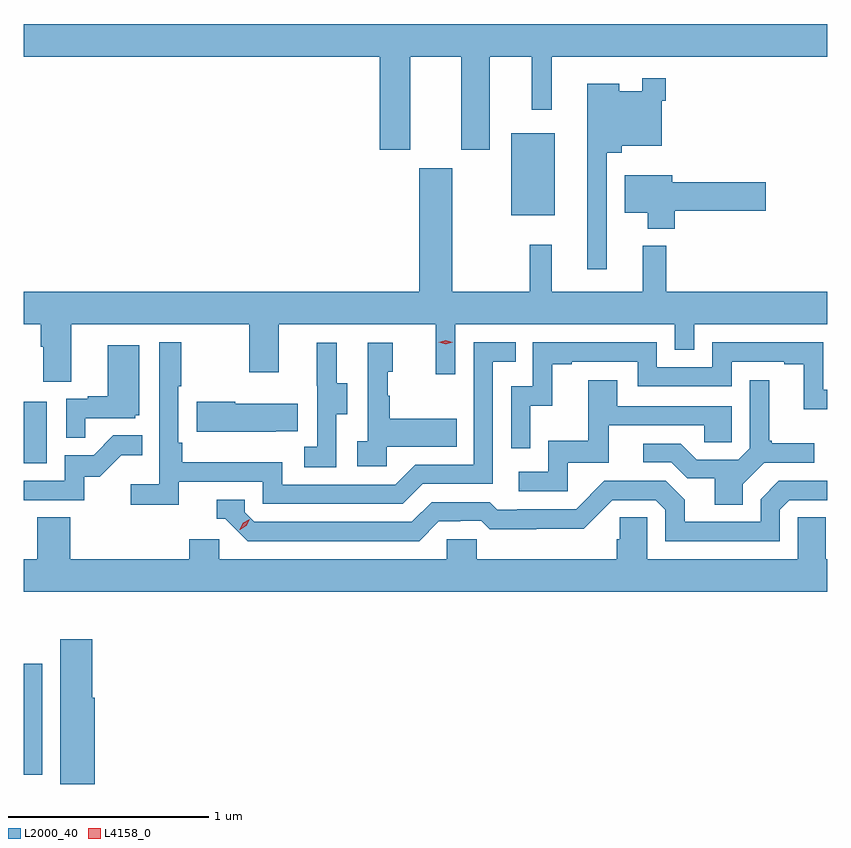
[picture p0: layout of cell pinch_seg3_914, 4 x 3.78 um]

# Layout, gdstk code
import gdstk
lib = gdstk.Library(unit=1e-6, precision=1e-09)
def R(c, l, rs):  # rectangles x0, y0, x1, y1
    for r in rs: c.add(gdstk.rectangle(r[:2], r[2:], *l))
def P(c, l, *ps):  # polygons
    for p in ps: c.add(gdstk.Polygon(p, *l))
L2000_40 = (2000, 40)
L4158_0 = (4158, 0)

pinch_seg3_914 = lib.new_cell('pinch_seg3_914')
R(pinch_seg3_914, L2000_40, [(886.426,673.366,886.518,673.918), (886.426,674.916,886.54,675.223), (888.854,676.151,889.069,676.561)])
P(pinch_seg3_914, L2000_40, [(888.349,676.94),(888.605,676.94),(888.605,676.479),(888.745,676.479),(888.745,676.94),(888.956,676.94),(888.956,676.677),(889.054,676.677),(889.054,676.94),(890.426,676.94),(890.426,677.104),(886.426,677.104),(886.426,676.94),(888.197,676.94),(888.197,676.479),(888.349,676.479)],
  [(889.329,676.463),(889.403,676.463),(889.403,676.499),(889.602,676.499),(889.602,676.721),(889.622,676.721),(889.622,676.834),(889.506,676.834),(889.506,676.768),(889.39,676.768),(889.39,676.807),(889.232,676.807),(889.232,675.882),(889.329,675.882)],
  [(886.663,675.608),(887.548,675.608),(887.548,675.369),(887.695,675.369),(887.695,675.608),(888.476,675.608),(888.476,675.36),(888.573,675.36),(888.573,675.608),(889.668,675.608),(889.668,675.481),(889.764,675.481),(889.764,675.608),(890.426,675.608),(890.426,675.772),(889.625,675.772),(889.625,676),(889.508,676),(889.508,675.772),(889.055,675.772),(889.055,676.006),(888.945,676.006),(888.945,675.772),(888.559,675.772),(888.559,676.387),(888.395,676.387),(888.395,675.772),(886.426,675.772),(886.426,675.608),(886.511,675.608),(886.511,675.496),(886.523,675.496),(886.523,675.322),(886.663,675.322)],
  [(889.667,676.174),(890.119,676.174),(890.119,676.316),(889.654,676.316),(889.654,676.351),(889.418,676.351),(889.418,676.163),(889.532,676.163),(889.532,676.085),(889.667,676.085)],
  [(887.198,674.826),(887.616,674.826),(887.616,674.715),(888.313,674.715),(888.412,674.814),(888.762,674.814),(888.762,675.423),(888.875,675.423),(888.875,675.519),(888.666,675.519),(888.666,674.91),(888.375,674.91),(888.276,674.811),(887.712,674.811),(887.712,674.923),(887.216,674.923),(887.216,675.019),(887.196,675.019),(887.196,675.301),(887.209,675.301),(887.209,675.52),(887.1,675.52),(887.1,674.812),(886.959,674.812),(886.959,674.71),(887.198,674.71)],
  [(888.948,675.203),(889.058,675.203),(889.058,675.411),(889.153,675.411),(889.153,675.423),(889.482,675.423),(889.482,675.3),(889.95,675.3),(889.95,675.423),(890.213,675.423),(890.213,675.411),(890.309,675.411),(890.309,675.185),(890.426,675.185),(890.426,675.283),(890.406,675.283),(890.406,675.519),(889.854,675.519),(889.854,675.396),(889.578,675.396),(889.578,675.519),(888.96,675.519),(888.96,675.3),(888.852,675.3),(888.852,674.991),(888.948,674.991)],
  [(888.234,674.999),(888.581,674.999),(888.581,675.139),(888.247,675.139),(888.247,675.254),(888.237,675.254),(888.237,675.372),(888.262,675.372),(888.262,675.517),(888.138,675.517),(888.138,675.026),(888.087,675.026),(888.087,674.901),(888.234,674.901)],
  [(887.982,675.16),(888.037,675.16),(888.037,675.315),(887.983,675.315),(887.983,675.517),(887.885,675.517),(887.885,675.303),(887.886,675.303),(887.886,674.999),(887.823,674.999),(887.823,674.896),(887.982,674.896)],
  [(886.733,675.141),(886.98,675.141),(886.98,675.156),(887.002,675.156),(887.002,675.505),(886.844,675.505),(886.844,675.25),(886.745,675.25),(886.745,675.237),(886.638,675.237),(886.638,675.043),(886.733,675.043)],
  [(889.134,674.919),(889.339,674.919),(889.339,675.105),(889.813,675.105),(889.813,675.021),(889.95,675.021),(889.95,675.201),(889.381,675.201),(889.381,675.331),(889.237,675.331),(889.237,675.028),(889.038,675.028),(889.038,674.874),(888.891,674.874),(888.891,674.778),(889.134,674.778)],
  [(890.005,674.812),(890.112,674.919),(890.362,674.919),(890.362,675.016),(890.149,675.016),(890.149,675.028),(890.137,675.028),(890.137,675.331),(890.04,675.331),(890.04,674.991),(889.983,674.934),(889.777,674.934),(889.696,675.015),(889.509,675.015),(889.509,674.922),(889.65,674.922),(889.73,674.842),(889.865,674.842),(889.865,674.71),(890.005,674.71)],
  [(887.681,675.077),(887.789,675.077),(887.789,675.214),(887.479,675.214),(887.479,675.222),(887.288,675.222),(887.288,675.074),(887.681,675.074)],
  [(886.728,674.85),(886.804,674.85),(886.911,674.957),(887.015,674.957),(887.015,675.056),(886.871,675.056),(886.773,674.958),(886.629,674.958),(886.629,674.829),(886.426,674.829),(886.426,674.733),(886.728,674.733)],
  [(888.493,674.628),(888.6,674.628),(888.6,674.631),(888.703,674.631),(888.745,674.589),(888.978,674.589),(888.978,674.591),(889.214,674.591),(889.356,674.733),(889.572,674.733),(889.62,674.685),(889.62,674.529),(890.19,674.529),(890.19,674.685),(890.238,674.733),(890.426,674.733),(890.426,674.831),(890.4,674.831),(890.4,674.829),(890.184,674.829),(890.094,674.739),(890.094,674.625),(889.717,674.625),(889.717,674.735),(889.623,674.829),(889.317,674.829),(889.176,674.688),(888.883,674.688),(888.883,674.685),(888.784,674.685),(888.745,674.724),(888.456,674.724),(888.357,674.625),(887.574,674.625),(887.526,674.673),(887.526,674.736),(887.387,674.736),(887.387,674.64),(887.43,674.64),(887.541,674.529),(888.394,674.529)],
  [(890.426,674.44),(890.419,674.44),(890.419,674.648),(890.28,674.648),(890.28,674.44),(889.53,674.44),(889.53,674.648),(889.393,674.648),(889.393,674.538),(889.379,674.538),(889.379,674.44),(888.681,674.44),(888.681,674.538),(888.531,674.538),(888.531,674.44),(887.4,674.44),(887.4,674.538),(887.249,674.538),(887.249,674.44),(886.658,674.44),(886.658,674.648),(886.493,674.648),(886.493,674.44),(886.426,674.44),(886.426,674.276),(890.426,674.276)],
  [(886.78,673.749),(886.768,673.749),(886.768,674.041),(886.607,674.041),(886.607,673.32),(886.78,673.32)])
P(pinch_seg3_914, L4158_0, [(888.526,675.509),(888.491,675.519),(888.491,675.519),(888.491,675.519),(888.526,675.529),(888.561,675.519),(888.561,675.519),(888.561,675.519)],
  [(887.502,674.587),(887.502,674.588),(887.519,674.62),(887.55,674.639),(887.55,674.639),(887.55,674.639),(887.533,674.606),(887.503,674.587)])

lib.write_gds('pinch_seg3_914.gds')
